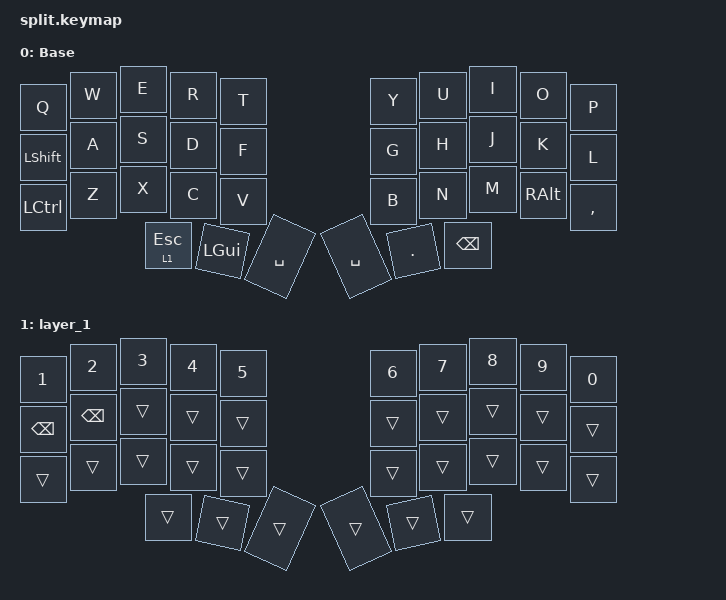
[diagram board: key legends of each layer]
#include <behaviors.dtsi>
#include <dt-bindings/zmk/keys.h>

/ {
    keymap {
        compatible = "zmk,keymap";

        default_layer {
            display-name = "Base";
            bindings = <
&kp Q      &kp W  &kp E      &kp R     &kp T      &kp Y      &kp U    &kp I     &kp O     &kp P
&kp LSHFT  &kp A  &kp S      &kp D     &kp F      &kp G      &kp H    &kp J     &kp K     &kp L
&kp LCTRL  &kp Z  &kp X      &kp C     &kp V      &kp B      &kp N    &kp M     &kp RALT  &kp COMMA
                  &lt 1 ESC  &kp LGUI  &kp SPACE  &kp SPACE  &kp DOT  &kp BSPC
            >;
        };

        layer_1 {
            bindings = <
&kp N1    &kp N2    &kp N3  &kp N4  &kp N5  &kp N6  &kp N7  &kp N8  &kp N9  &kp N0
&kp BSPC  &kp BSPC  &trans  &trans  &trans  &trans  &trans  &trans  &trans  &trans
&trans    &trans    &trans  &trans  &trans  &trans  &trans  &trans  &trans  &trans
                    &trans  &trans  &trans  &trans  &trans  &trans
            >;
        };
    };
};
